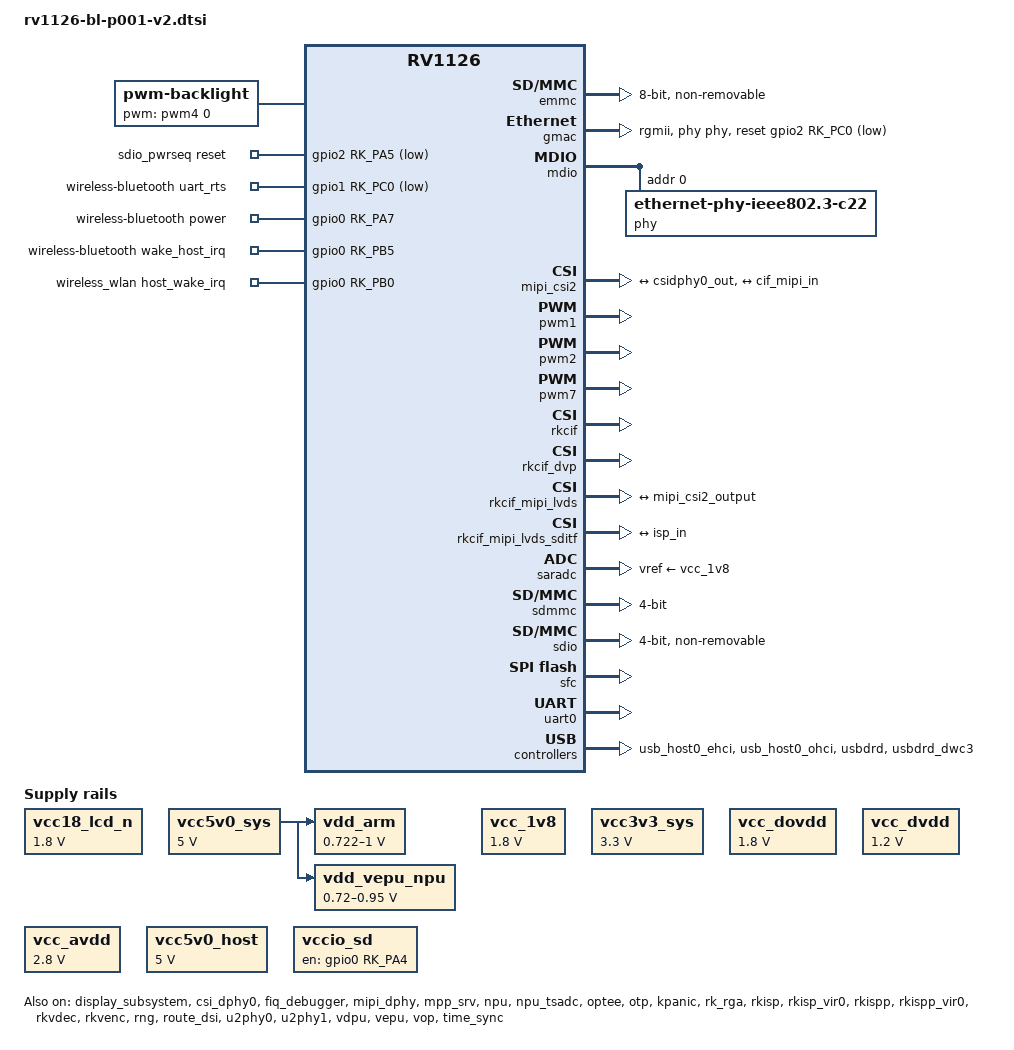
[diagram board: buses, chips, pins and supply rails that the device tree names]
// SPDX-License-Identifier: (GPL-2.0+ OR MIT)
/*
 * Copyright (c) 2019 Fuzhou Rockchip Electronics Co., Ltd.
 */

#include <dt-bindings/display/drm_mipi_dsi.h>
#include <dt-bindings/input/input.h>

/ {
	backlight: backlight {
		compatible = "pwm-backlight";
		pwms = <&pwm4 0 25000 0>;
		brightness-levels = <
			  0   1   2   3   4   5   6   7
			  8   9  10  11  12  13  14  15
			 16  17  18  19  20  21  22  23
			 24  25  26  27  28  29  30  31
			 32  33  34  35  36  37  38  39
			 40  41  42  43  44  45  46  47
			 48  49  50  51  52  53  54  55
			 56  57  58  59  60  61  62  63
			 64  65  66  67  68  69  70  71
			 72  73  74  75  76  77  78  79
			 80  81  82  83  84  85  86  87
			 88  89  90  91  92  93  94  95
			 96  97  98  99 100 101 102 103
			104 105 106 107 108 109 110 111
			112 113 114 115 116 117 118 119
			120 121 122 123 124 125 126 127
			128 129 130 131 132 133 134 135
			136 137 138 139 140 141 142 143
			144 145 146 147 148 149 150 151
			152 153 154 155 156 157 158 159
			160 161 162 163 164 165 166 167
			168 169 170 171 172 173 174 175
			176 177 178 179 180 181 182 183
			184 185 186 187 188 189 190 191
			192 193 194 195 196 197 198 199
			200 201 202 203 204 205 206 207
			208 209 210 211 212 213 214 215
			216 217 218 219 220 221 222 223
			224 225 226 227 228 229 230 231
			232 233 234 235 236 237 238 239
			240 241 242 243 244 245 246 247
			248 249 250 251 252 253 254 255>;
		default-brightness-level = <200>;
	};

	dummy_codec: dummy-codec {
		compatible = "rockchip,dummy-codec";
		#sound-dai-cells = <0>;
	};

	sdio_pwrseq: sdio-pwrseq {
		compatible = "mmc-pwrseq-simple";
		pinctrl-names = "default";
		pinctrl-0 = <&wifi_enable_h>;

		/*
		 * On the module itself this is one of these (depending
		 * on the actual card populated):
		 * - SDIO_RESET_L_WL_REG_ON
		 * - PDN (power down when low)
		 */
		reset-gpios = <&gpio2 RK_PA5 GPIO_ACTIVE_LOW>;
	};

	vcc18_lcd_n: vcc18-lcd-n {
		compatible = "regulator-fixed";
		regulator-name = "vcc18_lcd_n";
		regulator-always-on;
		regulator-boot-on;
		regulator-min-microvolt = <1800000>;
		regulator-max-microvolt = <1800000>;
	};

	vcc5v0_sys: vccsys {
		compatible = "regulator-fixed";
		regulator-name = "vcc5v0_sys";
		regulator-always-on;
		regulator-boot-on;
		regulator-min-microvolt = <5000000>;
		regulator-max-microvolt = <5000000>;
	};

	vcc_1v8: vcc1v8 {
		compatible = "regulator-fixed";
		regulator-name = "vcc1V8";
		regulator-always-on;
		regulator-boot-on;
		regulator-min-microvolt = <1800000>;
		regulator-max-microvolt = <1800000>;
	};
	vcc3v3_sys: vcc3v3_sys {
		compatible = "regulator-fixed";
		regulator-name = "vcc3v3_sys";
		regulator-always-on;
		regulator-boot-on;
		regulator-min-microvolt = <3300000>;
		regulator-max-microvolt = <3300000>;
	};

	vcc_dovdd: vcc_dovdd {
		   compatible = "regulator-fixed";
		   regulator-name = "vcc_dovdd";
		   regulator-always-on;
		   regulator-boot-on;
		   regulator-min-microvolt = <1800000>;
		   regulator-max-microvolt = <1800000>;
	};

	vcc_dvdd: vcc_dvdd {
		   compatible = "regulator-fixed";
		   regulator-name = "vcc_dvdd";
		   regulator-always-on;
		   regulator-boot-on;
		   regulator-min-microvolt = <1200000>;
		   regulator-max-microvolt = <1200000>;
	};

	vcc_avdd: vcc_avdd {
		   compatible = "regulator-fixed";
		   regulator-name = "vcc_avdd";
		   regulator-always-on;
		   regulator-boot-on;
		   regulator-min-microvolt = <2800000>;
		   regulator-max-microvolt = <2800000>;
	};

	vdd_arm: vdd-arm {
		compatible = "pwm-regulator";
		pwms = <&pwm2 0 5000 1>;
		regulator-name = "vdd_arm";
		regulator-min-microvolt = <722000>;
		regulator-max-microvolt = <1000000>;
		regulator-init-microvolt = <824000>;
		regulator-always-on;
		regulator-boot-on;
		regulator-settling-time-up-us = <250>;
		pwm-supply = <&vcc5v0_sys>;
		status = "okay";
	};
    vdd_vepu_npu: vdd-vepu-npu {
        compatible = "pwm-regulator";
        pwms = <&pwm7 0 5000 1>;
        regulator-name = "vdd_vepu_npu";
        regulator-min-microvolt = <720000>;
        regulator-max-microvolt = <950000>;
        regulator-init-microvolt = <825000>;
        regulator-always-on;
        regulator-boot-on;
        regulator-settling-time-up-us = <250>;
        pwm-supply = <&vcc5v0_sys>;
        status = "okay";
    };

	vcc5v0_host: SWITCH_REG1 {
		compatible = "regulator-fixed";
		regulator-name = "vcc5v0_host";
		regulator-always-on;
		regulator-boot-on;
		regulator-min-microvolt = <5000000>;
		regulator-max-microvolt = <5000000>;
	};

	vccio_sd: vccio-sd {
		compatible = "regulator-fixed";
		regulator-name = "vccio_sd";
		gpio = <&gpio0 RK_PA4 GPIO_ACTIVE_HIGH>;
		enable-active-high;
		regulator-boot-on;
	};

	wireless-bluetooth {
		compatible = "bluetooth-platdata";
		uart_rts_gpios = <&gpio1 RK_PC0 GPIO_ACTIVE_LOW>;
		pinctrl-names = "default", "rts_gpio";
		pinctrl-0 = <&uart0_rtsn>;
		pinctrl-1 = <&uart0_rtsn_gpio>;
		BT,power_gpio    = <&gpio0 RK_PA7 GPIO_ACTIVE_HIGH>;
		BT,wake_host_irq = <&gpio0 RK_PB5 GPIO_ACTIVE_HIGH>;
		status = "okay";
	};

	wireless_wlan: wireless-wlan {
		compatible = "wlan-platdata";
		rockchip,grf = <&grf>;
		pinctrl-names = "default";
		pinctrl-0 = <&wifi_wake_host>;
		wifi_chip_type = "rtl8189";
		WIFI,host_wake_irq = <&gpio0 RK_PB0 GPIO_ACTIVE_HIGH>;
		status = "okay";
	};
};

&cpu0 {
	cpu-supply = <&vdd_arm>;
};

&cpu_tsadc {
	status = "okay";
};

&display_subsystem {
	status = "okay";
};

&csi_dphy0 {
	status = "okay";

	ports {
		#address-cells = <1>;
		#size-cells = <0>;
		port@0 {
			reg = <0>;
			#address-cells = <1>;
			#size-cells = <0>;

			mipi_in_ucam0: endpoint@1 {
				reg = <1>;
				remote-endpoint = <&ucam_out0>;
				data-lanes = <1 2 3 4>;
			};
		};
		port@1 {
			reg = <1>;
			#address-cells = <1>;
			#size-cells = <0>;

			csidphy0_out: endpoint@0 {
				reg = <0>;
				remote-endpoint = <&mipi_csi2_input>;
			};
		};
	};
};


&emmc {
	bus-width = <8>;
	cap-mmc-highspeed;
	non-removable;
	mmc-hs200-1_8v;
	rockchip,default-sample-phase = <90>;
	supports-emmc;
	/delete-property/ pinctrl-names;
	/delete-property/ pinctrl-0;
	status = "okay";
};

&fiq_debugger {
	status = "okay";
};

&gmac {
	phy-mode = "rgmii";
	clock_in_out = "input";

	snps,reset-gpio = <&gpio2 RK_PC0 GPIO_ACTIVE_LOW>;
	snps,reset-active-low;
	/* Reset time is 20ms, 100ms for rtl8211f */
	snps,reset-delays-us = <0 20000 100000>;

	assigned-clocks = <&cru CLK_GMAC_SRC>, <&cru CLK_GMAC_TX_RX>, <&cru CLK_GMAC_ETHERNET_OUT>;
	assigned-clock-parents = <&cru CLK_GMAC_SRC_M1>, <&cru RGMII_MODE_CLK>;
	assigned-clock-rates = <125000000>, <0>, <25000000>;

	pinctrl-names = "default";
	pinctrl-0 = <&rgmiim1_miim &rgmiim1_bus2 &rgmiim1_bus4 &clkm1_out_ethernet>;

	tx_delay = <0x2a>;
	rx_delay = <0x1a>;

	phy-handle = <&phy>;
	status = "okay";
};

&mdio {
	phy: phy@0 {
		compatible = "ethernet-phy-ieee802.3-c22";
		reg = <0x0>;
		clocks = <&cru CLK_GMAC_ETHERNET_OUT>;
	};
};

&mipi_csi2 {
	status = "okay";

	ports {
		#address-cells = <1>;
		#size-cells = <0>;

		port@0 {
			reg = <0>;
			#address-cells = <1>;
			#size-cells = <0>;

			mipi_csi2_input: endpoint@1 {
				reg = <1>;
				remote-endpoint = <&csidphy0_out>;
				data-lanes = <1 2 3 4>;
			};
		};

		port@1 {
			reg = <1>;
			#address-cells = <1>;
			#size-cells = <0>;

			mipi_csi2_output: endpoint@0 {
				reg = <0>;
				remote-endpoint = <&cif_mipi_in>;
				data-lanes = <1 2 3 4>;
			};
		};
	};
};

&mipi_dphy {
	status = "okay";
};

&mpp_srv {
	status = "okay";
};

&npu {
	npu-supply = <&vdd_vepu_npu>;
	status = "okay";
};

&npu_tsadc {
       status = "okay";
};

&optee {
	status = "okay";
};

&otp {
	status = "okay";
};

&pinctrl {
	sdio-pwrseq {
		/omit-if-no-ref/
		wifi_enable_h: wifi-enable-h {
			rockchip,pins = <2 RK_PA5 RK_FUNC_GPIO &pcfg_pull_none>;
		};
	};

	wireless-wlan {
		/omit-if-no-ref/
		wifi_wake_host: wifi-wake-host {
			rockchip,pins = <0 RK_PB0 0 &pcfg_pull_up>;
		};
	};
};

&pmu_io_domains {
	status = "okay";

	pmuio0-supply = <&vcc3v3_sys>;
	pmuio1-supply = <&vcc3v3_sys>;
	vccio1-supply = <&vcc_1v8>;
	vccio2-supply = <&vccio_sd>;
	vccio2-supply = <&vcc_1v8>;
	vccio3-supply = <&vcc_1v8>;
	vccio4-supply = <&vcc_1v8>;
	vccio5-supply = <&vcc3v3_sys>;
};

&pwm0 {
	status = "disabled";
};

&pwm1 {
	status = "okay";
	pinctrl-names = "active";
	pinctrl-0 = <&pwm1m0_pins_pull_down>;
};

&pwm2 {
	status = "okay";
	pinctrl-names = "active";
	pinctrl-0 = <&pwm2m0_pins_pull_down>;
};

&pwm7 {
	status = "okay";
	pinctrl-names = "active";
	pinctrl-0 = <&pwm7m0_pins_pull_down>;
};

&ramoops {
	status = "okay";
};

&kpanic {
	status = "okay";
};

/*
&iotrace {
	status = "okay";
};
*/

&rk_rga {
	status = "okay";
};

&rkcif {
	status = "okay";
};

&rkcif_mmu {
	status = "disabled";
};

&rkcif_dvp {
	status = "okay";

	port {
	};
};

&rkcif_mipi_lvds {
	status = "okay";

	port {
		/* MIPI CSI-2 endpoint */
		cif_mipi_in: endpoint {
			remote-endpoint = <&mipi_csi2_output>;
			data-lanes = <1 2 3 4>;
		};
	};
};

&rkcif_mipi_lvds_sditf {
	status = "okay";

	port {
		/* MIPI CSI-2 endpoint */
		mipi_lvds_sditf: endpoint {
			remote-endpoint = <&isp_in>;
			data-lanes = <1 2 3 4>;
		};
	};
};

&rkisp {
	status = "okay";
};

&rkisp_vir0 {
	status = "okay";

	ports {
		port@0 {
			reg = <0>;
			#address-cells = <1>;
			#size-cells = <0>;

			isp_in: endpoint@0 {
				reg = <0>;
				remote-endpoint = <&mipi_lvds_sditf>;
			};
		};
	};
};

&rkisp_mmu {
	status = "disabled";
};

&rkispp {
	status = "okay";
	/* the max input w h and fps of mulit sensor */
	//max-input = <2688 1520 30>;
};

&rkispp_vir0 {
	status = "okay";
};

&rkispp_mmu {
	status = "okay";
};

&rkvdec {
	status = "okay";
};

&rkvdec_mmu {
	status = "okay";
};

&rkvenc {
	venc-supply = <&vdd_vepu_npu>;
	status = "okay";
};

&rkvenc_mmu {
	status = "okay";
};

&rng {
	status = "okay";
};

&rockchip_suspend {
	status = "okay";
	rockchip,sleep-debug-en = <1>;
	rockchip,sleep-mode-config = <
		(0
		| RKPM_SLP_ARMOFF
		| RKPM_SLP_PMU_PMUALIVE_32K
		| RKPM_SLP_PMU_DIS_OSC
		| RKPM_SLP_PMIC_LP
		)
	>;
	rockchip,wakeup-config = <
		(0
		| RKPM_GPIO_WKUP_EN
		)
	>;
};

&route_dsi {
	status = "okay";
};

&saradc {
	status = "okay";
	vref-supply = <&vcc_1v8>;
};

&sdmmc {
	bus-width = <4>;
	cap-mmc-highspeed;
	cap-sd-highspeed;
	card-detect-delay = <200>;
	rockchip,default-sample-phase = <90>;
	supports-sd;
	sd-uhs-sdr12;
	sd-uhs-sdr25;
	sd-uhs-sdr104;
	vqmmc-supply = <&vccio_sd>;
	status = "okay";
};

&sdio {
	max-frequency = <100000000>;
	bus-width = <4>;
	cap-sd-highspeed;
	cap-sdio-irq;
	keep-power-in-suspend;
	non-removable;
	rockchip,default-sample-phase = <90>;
	sd-uhs-sdr104;
	supports-sdio;
	mmc-pwrseq = <&sdio_pwrseq>;
	status = "okay";
};

&sfc {
	/delete-property/ pinctrl-names;
	/delete-property/ pinctrl-0;
	status = "okay";
};

&u2phy0 {
	status = "okay";
	vup-gpios = <&gpio0 RK_PC1 GPIO_ACTIVE_LOW>;
	u2phy_otg: otg-port {
		status = "okay";
	};
};

&u2phy1 {
	status = "okay";
	u2phy_host: host-port {
		status = "okay";
		phy-supply = <&vcc5v0_host>;
	};
};

&uart0 {
	pinctrl-names = "default";
	pinctrl-0 = <&uart0_xfer &uart0_ctsn>;
	status = "okay";
};

&usb_host0_ehci {
	status = "okay";
};

&usb_host0_ohci {
	status = "okay";
};

&usbdrd {
	status = "okay";
};

&usbdrd_dwc3 {
	status = "okay";
	extcon = <&u2phy0>;
};

&vdpu {
	status = "okay";
};

&vepu {
	status = "okay";
};

&vpu_mmu {
	status = "okay";
};

&vop {
	status = "okay";
};

&vop_mmu {
	status = "okay";
};

&time_sync {
	time_sync_gpio = <&gpio2 RK_PB3 GPIO_ACTIVE_HIGH>;
	status = "okay";
};
